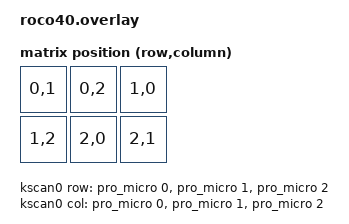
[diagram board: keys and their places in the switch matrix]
#include <dt-bindings/zmk/matrix_transform.h>

/ {
    chosen {
        zmk,kscan = &kscan0;
    };

    kscan0: kscan_0 {
        compatible = "zmk,kscan-gpio-matrix";
        label = "KSCAN";
        diode-direction = "col2row";

        col-gpios
            = <&pro_micro 0 GPIO_ACTIVE_HIGH>
            , <&pro_micro 1 GPIO_ACTIVE_HIGH>
            , <&pro_micro 2 GPIO_ACTIVE_HIGH>
            ;

        row-gpios
            = <&pro_micro 0 (GPIO_ACTIVE_HIGH | GPIO_PULL_DOWN)>
            , <&pro_micro 1 (GPIO_ACTIVE_HIGH | GPIO_PULL_DOWN)>
            , <&pro_micro 2 (GPIO_ACTIVE_HIGH | GPIO_PULL_DOWN)>
            ;
    };

    default_transform: keymap_transform_0 {
        compatible = "zmk,matrix-transform";
        columns = <8>;
        rows = <8>;
        map = <
            RC(0,1) RC(0,2) RC(1,0)
            RC(1,2) RC(2,0) RC(2,1)
        >;
    };
    left_encoder: encoder_left {
        compatible = "alps,ec11";
        label = "LEFT_ENCODER";
        a-gpios = <PIN_A (GPIO_ACTIVE_HIGH | GPIO_PULL_UP)>;
        b-gpios = <PIN_B (GPIO_ACTIVE_HIGH | GPIO_PULL_UP)>;
        resolution = <4>;
        status = "disabled";
    };
    right_encoder: encoder_right {
        compatible = "alps,ec11";
        label = "RIGHT_ENCODER";
        a-gpios = <9 (GPIO_ACTIVE_HIGH | GPIO_PULL_UP)>;
        b-gpios = <10 (GPIO_ACTIVE_HIGH | GPIO_PULL_UP)>;
        resolution = <4>;
        status = "disabled";
    };
};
